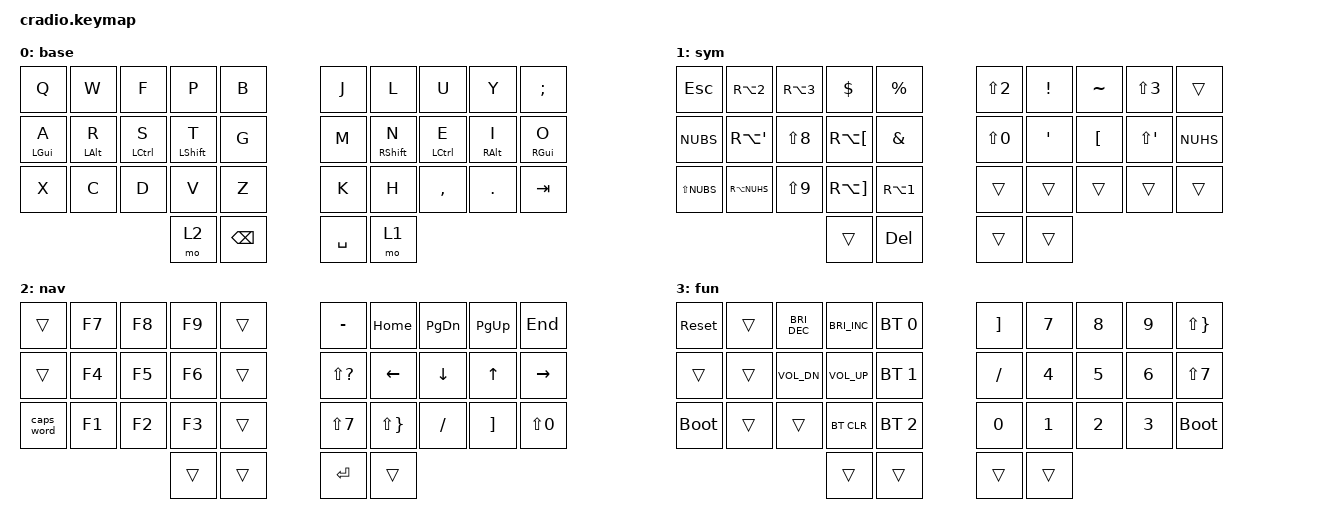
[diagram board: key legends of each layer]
// Copyright (c) 2022 The ZMK Contributors
// SPDX-License-Identifier: MIT

#include <behaviors.dtsi>
#include <dt-bindings/zmk/bt.h>
#include <dt-bindings/zmk/keys.h>

// Home row mods macro

#define HRML(k1,k2,k3,k4) &ht LSHFT k1  &ht LALT k2  &ht LCTRL k3  &ht LGUI k4
#define HRMR(k1,k2,k3,k4) &ht RGUI k1  &ht RCTRL k2  &ht RALT k3  &ht RSHFT k4

/ {
    behaviors {
        ht: hold_tap {
            compatible = "zmk,behavior-hold-tap";
            #binding-cells = <2>;
            flavor = "tap-preferred";
            tapping-term-ms = <225>;
            quick-tap-ms = <150>;
            require-prior-idle-ms = <100>;
            bindings = <&kp>, <&kp>;
        };
    };

    conditional_layers {
        compatible = "zmk,conditional-layers";

        tri_layer {
            if-layers = <1 2>;
            then-layer = <3>;
        };
    };

    keymap {
        compatible = "zmk,keymap";

        base {
            bindings = <
&kp Q           &kp W           &kp F               &kp P             &kp B            &kp J      &kp L              &kp U               &kp Y            &kp SEMICOLON
&ht LEFT_GUI A  &ht LEFT_ALT R  &ht LEFT_CONTROL S  &ht LEFT_SHIFT T  &kp G            &kp M      &ht RIGHT_SHIFT N  &ht LEFT_CONTROL E  &ht RIGHT_ALT I  &ht RIGHT_GUI O
&kp X           &kp C           &kp D               &kp V             &kp Z            &kp K      &kp H              &kp COMMA           &kp DOT          &kp TAB
                                                    &mo 2             &kp BACKSPACE    &kp SPACE  &mo 1
            >;
        };

        sym {
            bindings = <
&kp ESCAPE    &kp RA(NUMBER_2)  &kp RA(NUMBER_3)  &kp DLLR      &kp PRCNT           &kp LS(NUMBER_2)  &kp EXCL  &kp TILDE         &kp LS(NUMBER_3)  &trans
&kp NUBS      &kp RA(SQT)       &kp LS(N8)        &kp RA(LBKT)  &kp AMPERSAND       &kp LS(N0)        &kp SQT   &kp LEFT_BRACKET  &kp LS(SQT)       &kp NUHS
&kp LS(NUBS)  &kp RA(NUHS)      &kp LS(N9)        &kp RA(RBKT)  &kp RA(NUMBER_1)    &trans            &trans    &trans            &trans            &trans
                                                  &trans        &kp DELETE          &trans            &trans
            >;
        };

        nav {
            bindings = <
&trans      &kp F7  &kp F8  &kp F9  &trans    &kp MINUS         &kp HOME             &kp PAGE_DOWN  &kp PAGE_UP        &kp END
&trans      &kp F4  &kp F5  &kp F6  &trans    &kp LS(QUESTION)  &kp LEFT_ARROW       &kp DOWN       &kp UP_ARROW       &kp RIGHT
&caps_word  &kp F1  &kp F2  &kp F3  &trans    &kp LS(N7)        &kp LS(RIGHT_BRACE)  &kp SLASH      &kp RIGHT_BRACKET  &kp LS(N0)
                            &trans  &trans    &kp ENTER         &trans
            >;
        };

        fun {
            bindings = <
&sys_reset   &trans  &kp C_BRI_DEC  &kp C_BRI_INC  &bt BT_SEL 0    &kp RIGHT_BRACKET  &kp N7  &kp N8  &kp N9  &kp LS(RIGHT_BRACE)
&trans       &trans  &kp C_VOL_DN   &kp C_VOL_UP   &bt BT_SEL 1    &kp SLASH          &kp N4  &kp N5  &kp N6  &kp LS(N7)
&bootloader  &trans  &trans         &bt BT_CLR     &bt BT_SEL 2    &kp N0             &kp N1  &kp N2  &kp N3  &bootloader
                                    &trans         &trans          &trans             &trans
            >;
        };
    };
};
